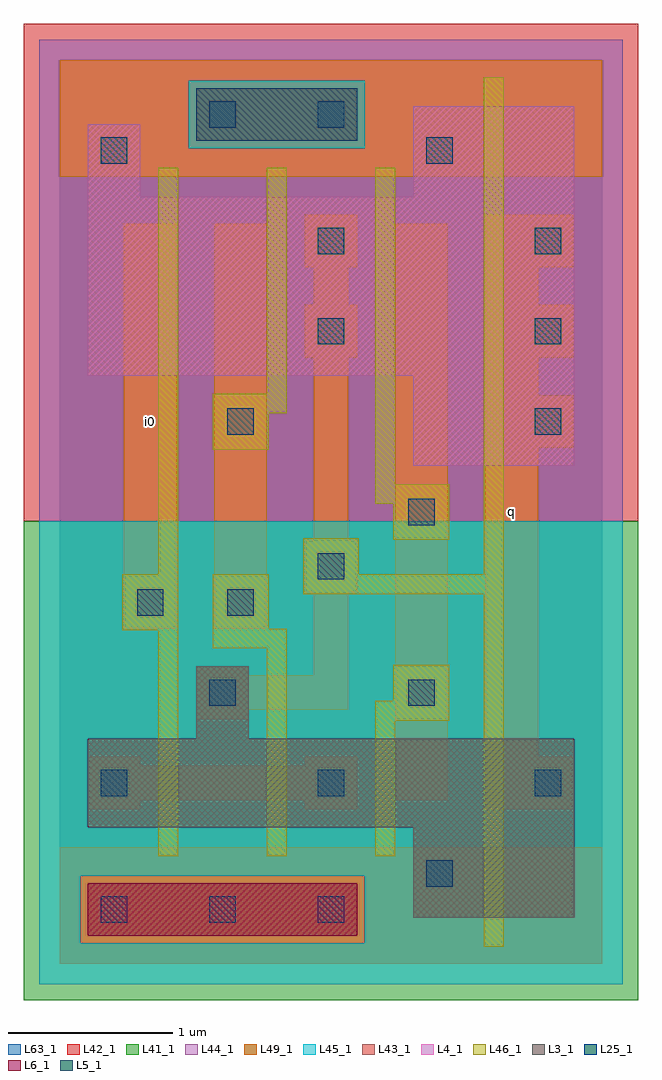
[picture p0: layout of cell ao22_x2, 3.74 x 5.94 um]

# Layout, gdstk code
import gdstk
lib = gdstk.Library(unit=1e-6, precision=1e-09)
def R(c, l, rs):  # rectangles x0, y0, x1, y1
    for r in rs: c.add(gdstk.rectangle(r[:2], r[2:], *l))
def A(c, l, x, y, w, h, nx, ny, dx, dy):  # array of equal rectangles
    R(c, l, [(x+i*dx, y+j*dy, x+i*dx+w, y+j*dy+h) for i in range(nx) for j in range(ny)])
L3_1 = (3, 1)
L4_1 = (4, 1)
L5_1 = (5, 1)
L6_1 = (6, 1)
L25_1 = (25, 1)
L41_1 = (41, 1)
L42_1 = (42, 1)
L43_1 = (43, 1)
L44_1 = (44, 1)
L45_1 = (45, 1)
L46_1 = (46, 1)
L49_1 = (49, 1)
L63_1 = (63, 1)

ao22_x2 = lib.new_cell('ao22_x2')
R(ao22_x2, L3_1, [(2.15,0.28,3.13,0.83), (0.17,0.83,3.13,1.37), (0.83,1.37,1.15,1.81)])
R(ao22_x2, L4_1, [(2.15,3.03,3.13,3.58), (0.17,3.58,3.13,4.67), (0.17,4.67,0.49,5.11), (2.15,4.67,3.13,5.22)])
R(ao22_x2, L5_1, [(0.83,5.01,1.81,5.33)])
R(ao22_x2, L6_1, [(0.17,0.17,1.81,0.49)])
A(ao22_x2, L25_1, 0.25, 0.25, 0.16, 0.16, 3, 1, 0.66, 0)
A(ao22_x2, L25_1, 0.25, 1.02, 0.16, 0.16, 3, 1, 1.32, 0)
A(ao22_x2, L25_1, 2.89, 3.22, 0.16, 0.16, 1, 3, 0, 0.55)
R(ao22_x2, L25_1, [(2.23,0.47,2.39,0.63), (0.91,1.57,1.07,1.73), (2.12,1.57,2.28,1.73), (0.47,2.12,0.63,2.28), (1.02,2.12,1.18,2.28), (1.57,2.34,1.73,2.5), (2.12,2.67,2.28,2.83), (1.02,3.22,1.18,3.38), (1.57,3.77,1.73,3.93), (1.57,4.32,1.73,4.48), (0.25,4.87,0.41,5.03), (2.23,4.87,2.39,5.03), (0.91,5.09,1.07,5.25), (1.57,5.09,1.73,5.25)])
R(ao22_x2, L41_1, [(-0.22,-0.22,3.52,2.695)])
R(ao22_x2, L42_1, [(-0.22,2.695,3.52,5.72)])
R(ao22_x2, L43_1, [(0.17,0.17,1.81,0.49), (2.15,0.28,3.13,0.83), (0.17,0.83,3.13,1.37), (0.83,1.37,1.15,1.81), (2.15,3.03,3.13,3.58), (0.17,3.58,3.13,4.67), (0.17,4.67,0.49,5.11), (2.15,4.67,3.13,5.22), (0.83,5.01,1.81,5.33)])
R(ao22_x2, L44_1, [(0.125,0.125,1.855,0.535), (-0.125,2.695,3.425,4.965), (-0.125,4.965,0.785,5.375), (1.855,4.965,3.425,5.375), (-0.125,5.375,3.425,5.625)])
R(ao22_x2, L45_1, [(-0.125,-0.125,3.425,0.125), (-0.125,0.125,0.125,0.535), (1.855,0.125,3.425,0.535), (-0.125,0.535,3.425,2.695), (0.785,4.965,1.855,5.375)])
R(ao22_x2, L46_1, [(2.58,0.105,2.7,2.25), (0.6,0.655,0.72,2.03), (1.26,0.655,1.38,1.92), (1.92,0.655,2.04,1.48), (1.92,1.48,2.37,1.6), (2.03,1.6,2.37,1.82), (0.93,1.92,1.38,2.04), (0.38,2.03,0.72,2.37), (0.93,2.04,1.27,2.37), (1.48,2.25,2.7,2.37), (0.6,2.37,0.72,4.845), (1.48,2.37,1.82,2.59), (2.58,2.37,2.7,5.395), (2.03,2.58,2.37,2.8), (1.92,2.8,2.37,2.92), (1.92,2.92,2.04,4.845), (0.93,3.13,1.27,3.35), (0.93,3.35,1.38,3.47), (1.26,3.47,1.38,4.845)])
A(ao22_x2, L49_1, 2.59, 3.14, 0.54, 0.32, 1, 3, 0, 0.55)
R(ao22_x2, L49_1, [(0,0,3.3,0.71), (0.17,0.94,0.49,0.995), (1.49,0.94,1.81,0.995), (2.59,0.94,3.13,1.26), (0.17,0.995,1.81,1.205), (2.04,0.995,2.36,4.505), (0.17,1.205,0.49,1.26), (1.49,1.205,1.81,1.26), (2.59,1.26,2.91,3.14), (0.83,1.49,1.15,1.545), (0.83,1.545,1.755,1.755), (0.83,1.755,1.15,1.81), (1.545,1.755,1.755,2.26), (0.39,2.04,0.71,4.505), (0.94,2.04,1.26,4.505), (1.49,2.26,1.81,2.58), (1.545,2.58,1.755,3.69), (2.59,3.46,2.91,3.69), (1.49,3.69,1.81,4.01), (1.545,4.01,1.755,4.24), (2.59,4.01,2.91,4.24), (1.49,4.24,1.81,4.56), (0,4.79,3.3,5.5)])
R(ao22_x2, L63_1, [(0,0,3.3,5.5)])
ao22_x2.add(gdstk.Label('i0', (0.55,3.3), layer=49, texttype=1))
ao22_x2.add(gdstk.Label('i0', (0.55,3.3), layer=49, texttype=1))
ao22_x2.add(gdstk.Label('q', (2.75,2.75), layer=49, texttype=1))
ao22_x2.add(gdstk.Label('q', (2.75,2.75), layer=49, texttype=1))

lib.write_gds('ao22_x2.gds')
